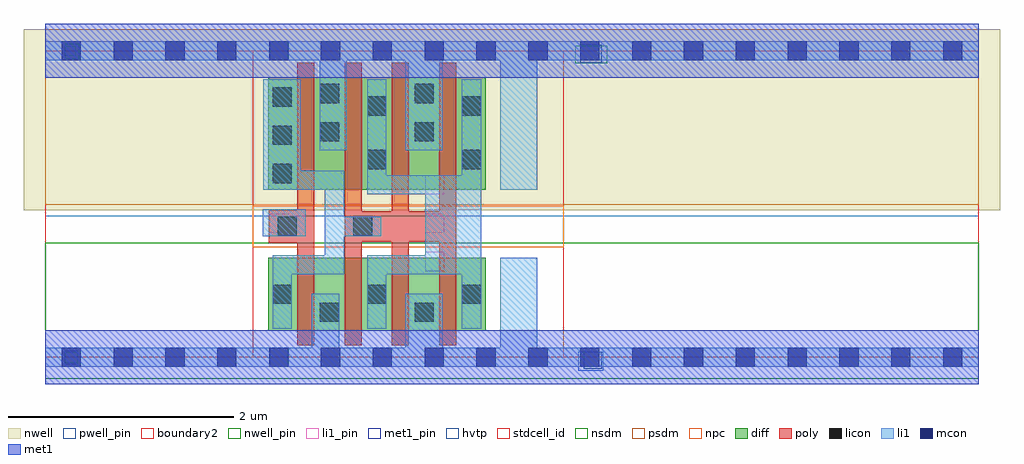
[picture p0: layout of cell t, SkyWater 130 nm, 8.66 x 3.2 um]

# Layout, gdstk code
import gdstk
lib = gdstk.Library(unit=1e-6, precision=1e-09)
def R(c, l, rs):  # rectangles x0, y0, x1, y1
    for r in rs: c.add(gdstk.rectangle(r[:2], r[2:], *l))
def A(c, l, x, y, w, h, nx, ny, dx, dy):  # array of equal rectangles
    R(c, l, [(x+i*dx, y+j*dy, x+i*dx+w, y+j*dy+h) for i in range(nx) for j in range(ny)])
nwell_pin = (64, 16)
nwell = (64, 20)
diff = (65, 20)
poly = (66, 20)
licon = (66, 44)
li1_pin = (67, 16)
li1 = (67, 20)
mcon = (67, 44)
met1_pin = (68, 16)
met1 = (68, 20)
hvtp = (78, 44)
stdcell_id = (81, 4)
nsdm = (93, 44)
psdm = (94, 20)
npc = (95, 20)
pwell_pin = (122, 16)
boundary2 = (236, 0)

c_t = lib.new_cell('t')
R(c_t, nwell_pin, [(4.7,2.61,4.985,2.765), (1.99,2.635,2.16,2.805), (0.175,2.65,0.3,2.78)])
R(c_t, nwell, [(-0.19,1.305,2.03,2.91), (1.65,1.305,4.79,2.91), (4.41,1.305,8.47,2.91)])
R(c_t, diff, [(1.975,0.235,3.905,0.885), (1.975,1.485,3.905,2.485)])
A(c_t, poly, 2.235, 0.105, 0.15, 2.51, 4, 1, 0.42, 0)
R(c_t, poly, [(1.98,1.015,2.235,1.305), (2.805,1.025,3.075,1.295), (3.225,1.025,3.495,1.295)])
A(c_t, licon, 2.015, 0.475, 0.17, 0.17, 3, 1, 0.84, 0)
A(c_t, licon, 2.015, 1.545, 0.17, 0.17, 1, 3, 0, 0.34)
R(c_t, licon, [(2.435,0.315,2.605,0.485), (3.275,0.315,3.445,0.485), (2.06,1.075,2.23,1.245), (2.73,1.075,2.9,1.245), (2.855,1.67,3.025,1.84), (3.695,1.67,3.865,1.84), (2.435,1.915,2.605,2.085), (3.275,1.915,3.445,2.085), (2.855,2.145,3.025,2.315), (3.695,2.145,3.865,2.315), (2.435,2.255,2.605,2.425), (3.275,2.255,3.445,2.425)])
A(c_t, li1_pin, 3.37, 0.765, 0.17, 0.17, 1, 3, 0, 0.34)
R(c_t, li1_pin, [(1.99,-0.085,2.16,0.085), (1.99,1.105,2.16,1.275), (1.99,2.635,2.16,2.805)])
R(c_t, li1, [(0,-0.085,1.84,0.085), (1.84,-0.085,2.365,0.085), (2.365,-0.085,2.605,0.565), (2.605,-0.085,3.195,0.085), (3.195,-0.085,3.525,0.565), (3.525,-0.085,4.035,0.085), (4.035,-0.085,4.365,0.885), (4.365,-0.085,4.6,0.085), (4.6,-0.085,8.28,0.085), (2.015,0.255,2.185,0.905), (2.855,0.255,3.025,0.905), (3.695,0.255,3.865,2.465), (2.185,0.735,2.265,0.905), (2.265,0.735,2.48,0.905), (2.48,0.735,2.65,1.655), (3.025,0.735,3.37,0.905), (3.37,0.735,3.695,1.615), (1.93,1.075,2.31,1.315), (2.65,1.075,2.98,1.245), (2.855,1.445,3.025,2.465), (3.025,1.445,3.37,1.615), (1.935,1.485,2.015,2.465), (2.015,1.485,2.185,2.465), (2.185,1.485,2.265,2.465), (2.265,1.485,2.48,1.655), (4.035,1.485,4.365,2.805), (2.435,1.835,2.675,2.805), (3.195,1.835,3.525,2.805), (0,2.635,1.84,2.805), (1.84,2.635,2.435,2.805), (2.675,2.635,3.195,2.805), (3.525,2.635,4.035,2.805), (4.365,2.635,4.6,2.805), (4.6,2.635,8.28,2.805)])
A(c_t, mcon, 0.145, -0.085, 0.17, 0.17, 18, 2, 0.46, 2.72)
R(c_t, met1_pin, [(4.775,-0.1,4.935,0.05), (1.99,-0.085,2.16,0.085), (0.17,-0.05,0.285,0.045), (4.745,2.615,4.935,2.775), (1.99,2.635,2.16,2.805), (0.17,2.675,0.27,2.76)])
R(c_t, met1, [(0,-0.24,1.84,0.24), (1.84,-0.24,4.6,0.24), (4.6,-0.24,8.28,0.24), (0,2.48,1.84,2.96), (1.84,2.48,4.6,2.96), (4.6,2.48,8.28,2.96)])
R(c_t, hvtp, [(0,1.25,1.84,2.72), (1.84,1.25,4.6,2.72), (4.6,1.25,8.28,2.72)])
R(c_t, stdcell_id, [(0,0,1.84,2.72), (1.84,0,4.6,2.72), (4.6,0,8.28,2.72)])
R(c_t, nsdm, [(0,-0.19,1.84,1.015), (1.84,-0.19,4.6,1.015), (4.6,-0.19,8.28,1.015)])
R(c_t, psdm, [(0,1.355,1.84,2.91), (1.84,1.355,4.6,2.91), (4.6,1.355,8.28,2.91)])
R(c_t, npc, [(1.84,0.975,4.6,1.345)])
R(c_t, pwell_pin, [(4.73,-0.12,4.95,0.05), (1.99,-0.085,2.16,0.085), (0.175,-0.06,0.285,0.06)])
R(c_t, boundary2, [(1.84,0,4.6,2.72)])

lib.write_gds('t.gds')
